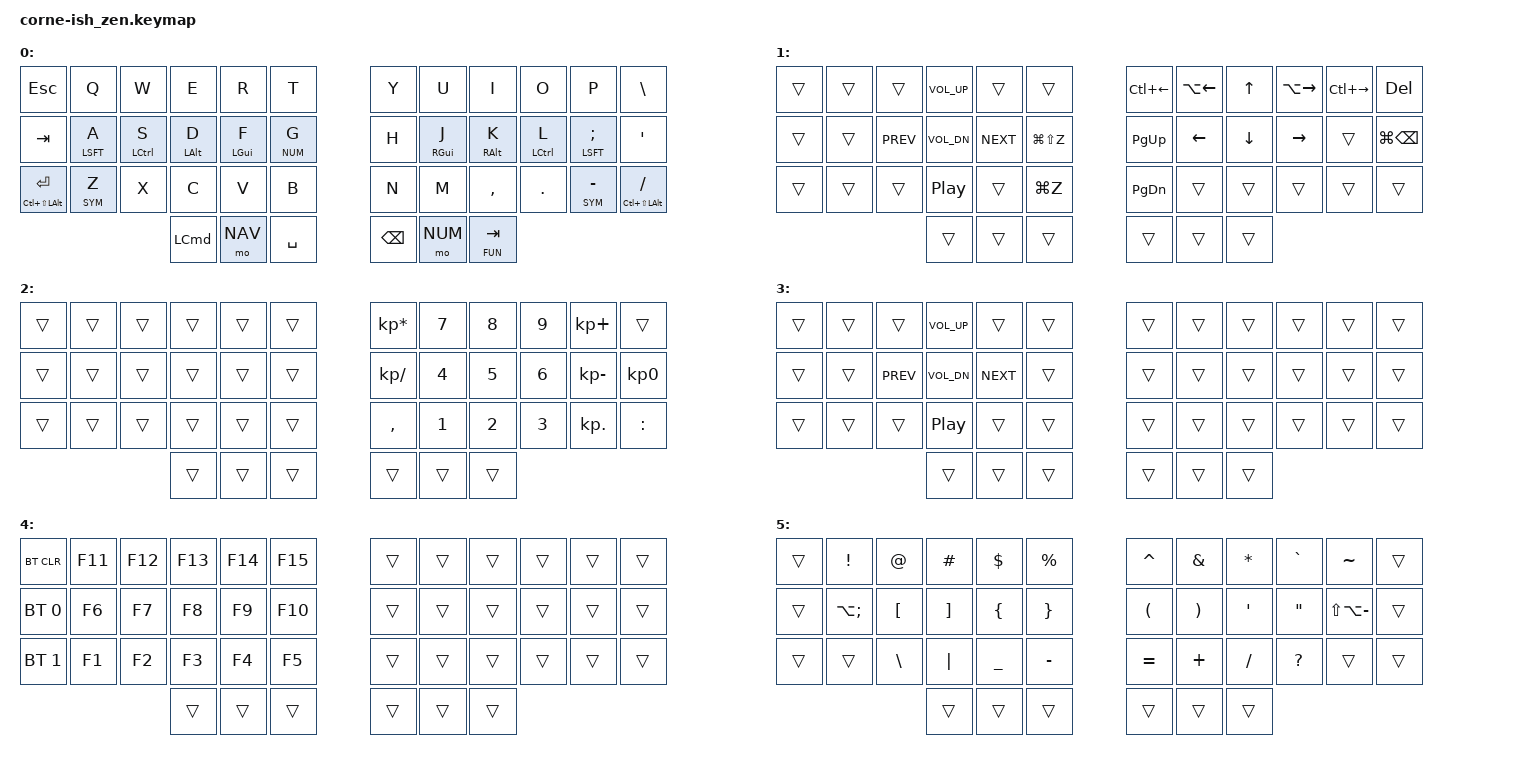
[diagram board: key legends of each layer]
/*
*
* Copyright (c) 2021 Cam Hunt
* SPDX-License-Identifier: MIT
*
*/

#include <behaviors.dtsi>
#include <dt-bindings/zmk/keys.h>
#include <dt-bindings/zmk/bt.h>

#define NAV 1
#define NUM 2
#define MED 3
#define FUN 4
#define SYM 5

#define UMDO LG(Z)
#define REDO LG(LS(Z))
#define MEH LC(LS(LALT))

#define PLAY C_PP
#define NEXT C_NEXT
#define PREV C_PREV
#define VOL_DN C_VOL_DN
#define VOL_UP C_VOL_UP

#define NXTB F17 // next tab
#define PVTB F16 // prev tab
#define FWD LA(F17) // fowrard
#define BCK LA(F16) // back

&mt {
    tapping_term_ms = <211>;
};

/ {
    behaviors {
        hm: homerow_mods {
            compatible = "zmk,behavior-hold-tap";
            label = "HOMEROW_MODS";
            #binding-cells = <2>;
            tapping-term-ms = <211>;
            quick_tap_ms = <0>;
            flavor = "tap-preferred";
            bindings = <&kp>, <&kp>;
        };
    };

    keymap {
        compatible = "zmk,keymap";

        default_layer {
            label = "";

// -------------------------------------------------------------------------------
// |  ESC |  Q  |  W  |  E  |  R  |  T  |   |  Y   |  U  |  I  |  O  |  P  |  \  |
// |  TAB |  A  |  S  |  D  |  F  |  G  |   |  H   |  J  |  K  |  L  |  ;  |  '  |
// |  RET |  Z  |  X  |  C  |  V  |  B  |   |  N   |  M  |  ,  |  .  |  -  |  /  |
//                    | GUI |     | SPC |   | BKSP |     | TAB |
//                    |     | NAV |     |   |      | NUM | FUN |

            bindings = <
   &kp ESC      &kp Q       &kp W        &kp E       &kp R        &kp T          &kp Y      &kp U       &kp I        &kp O        &kp P          &kp BSLH
   &kp TAB      &hm LSFT A  &hm LCTRL S  &hm LALT D  &hm LGUI F   &lt NUM G      &kp H      &hm RGUI J  &hm RALT K   &hm LCTRL L  &hm LSFT SEMI  &kp SQT
   &hm MEH RET  &lt SYM Z   &kp X        &kp C       &kp V        &kp B          &kp N      &kp M       &kp COMMA    &kp DOT      &lt SYM MINUS  &hm MEH SLASH
                                         &kp LCMD    &mo NAV      &kp SPACE      &kp BKSP   &mo NUM     &lt FUN TAB
            >;
        };

        nav_layer {
            label = "";

// --------------------------------------------------------------------------------
// |      |     |      | VOL_UP |      |      |   | LFRG| LPAG | UP  | RPAG| RFRG| DEL  |
// |      |     | PREV | VOL_DN | NEXT | REDO |   | PGUP| LFT  | DWN | RGT |     | DELL |
// |      |     |      |  PLAY  |      | UNDO |   | PGDN|      |     |     |     |      |
//                     |        |      |      |   |     |      |     |

            bindings = <
    &trans  &trans  &trans    &kp VOL_UP  &trans    &trans    &kp LC(LEFT)  &kp LA(LEFT)  &kp UP    &kp LA(RIGHT)  &kp LC(RIGHT)  &kp DEL
    &trans  &trans  &kp PREV  &kp VOL_DN  &kp NEXT  &kp REDO  &kp PG_UP     &kp LEFT      &kp DOWN  &kp RIGHT      &trans         &kp LG(BKSP)
    &trans  &trans  &trans    &kp PLAY    &trans    &kp UMDO  &kp PG_DN     &trans        &trans    &trans         &trans        &trans
                              &trans      &trans    &trans    &trans        &trans        &trans
            >;
        };

        numbers_layer {
            label = "";

// ------------------------------------------------------------------------------
// |      |     |     |     |     |     |   |  *  |  7  |  8  |  9  |  +  |     |
// |      |     |     |     |     |     |   |  /  |  4  |  5  |  6  |  -  |  0  |
// |      |     |     |     |     |     |   |  ,  |  1  |  2  |  3  |  .  |  :  |
//                    |     |     |     |   |     |     |     |

            bindings = <
    &trans  &trans  &trans  &trans  &trans  &trans  &kp KP_ASTERISK  &kp N7  &kp N8  &kp N9  &kp KP_PLUS   &trans
    &trans  &trans  &trans  &trans  &trans  &trans  &kp KP_SLASH     &kp N4  &kp N5  &kp N6  &kp KP_MINUS  &kp KP_N0
    &trans  &trans  &trans  &trans  &trans  &trans  &kp CMMA         &kp N1  &kp N2  &kp N3  &kp KP_DOT    &kp COLON
                            &trans  &trans  &trans  &trans           &trans  &trans
            >;
        };

        media_layer {
            label = "";

// --------------------------------------------------------------------------------------
// |    |     |      |  VOL_UP  |      |     |   |     |     |     |     |     |     |
// |    |     | PREV |  VOL_DN  | NEXT |     |   |     |     |     |     |     |     |
// |    |     |      |   PLAY   |      |     |   |     |     |     |     |     |     |
//                   |          |      |     |   |     |     |     |

            bindings = <
    &trans  &trans  &trans    &kp VOL_UP  &trans    &trans  &trans  &trans  &trans  &trans  &trans  &trans
    &trans  &trans  &kp PREV  &kp VOL_DN  &kp NEXT  &trans  &trans  &trans  &trans  &trans  &trans  &trans
    &trans  &trans  &trans    &kp PLAY    &trans    &trans  &trans  &trans  &trans  &trans  &trans  &trans
                              &trans      &trans    &trans  &trans  &trans  &trans
            >;
        };

        fun_layer {
            label = "";

// -----------------------------------------------------------------------------
// | BTCLR | F11 | F12 | F13 | F14 | F15 |   |     |     |     |     |     |     |
// |  BT1  |  F6 |  F7 |  F8 |  F9 | F10 |   |     |     |     |     |     |     |
// |  BT2  |  F1 |  F2 |  F3 |  F4 |  F5 |   |     |     |     |     |     |     |
//                     |     |     |     |   |     |     |     |

            bindings = <
    &bt BT_CLR     &kp F11  &kp F12  &kp F13  &kp F14  &kp F15  &trans  &trans  &trans  &trans  &trans  &trans
    &bt BT_SEL 0   &kp F6   &kp F7   &kp F8   &kp F9   &kp F10  &trans  &trans  &trans  &trans  &trans  &trans
    &bt BT_SEL 1   &kp F1   &kp F2   &kp F3   &kp F4   &kp F5   &trans  &trans  &trans  &trans  &trans  &trans
                                     &trans   &trans   &trans   &trans  &trans  &trans
            >;
        };

        symbols_layer {
            label = "";

// -------------------------------------------------------------------------------
// |      |  !  |  @  |  #  |  $  |  %  |   |  ^  |  &  |  *  |  `  |  ~  |      |
// |      |  …  |  [  |  ]  |  {  |  }  |   |  (  |  )  |  '  |  "  |  —  |      |
// |      |     |  \  |  |  |  _  |  -  |   |  =  |  +  |  /  |  ?  |     |      |
//                    |     |     |     |   |     |     |     |

            bindings = <
    &trans  &kp EXCL      &kp AT    &kp HASH  &kp DLLR   &kp PRCNT  &kp CARET  &kp AMPS  &kp STAR   &kp GRAVE  &kp TILDE          &trans
    &trans  &kp LA(SEMI)  &kp LBKT  &kp RBKT  &kp LBRC   &kp RBRC   &kp LPAR   &kp RPAR  &kp SQT    &kp DQT    &kp LS(LA(MINUS))  &trans
    &trans  &trans        &kp BSLH  &kp PIPE  &kp UNDER  &kp MINUS  &kp EQUAL  &kp PLUS  &kp SLASH  &kp QMARK  &trans             &trans
                                    &trans    &trans     &trans     &trans     &trans    &trans
            >;
        };
    };
};
